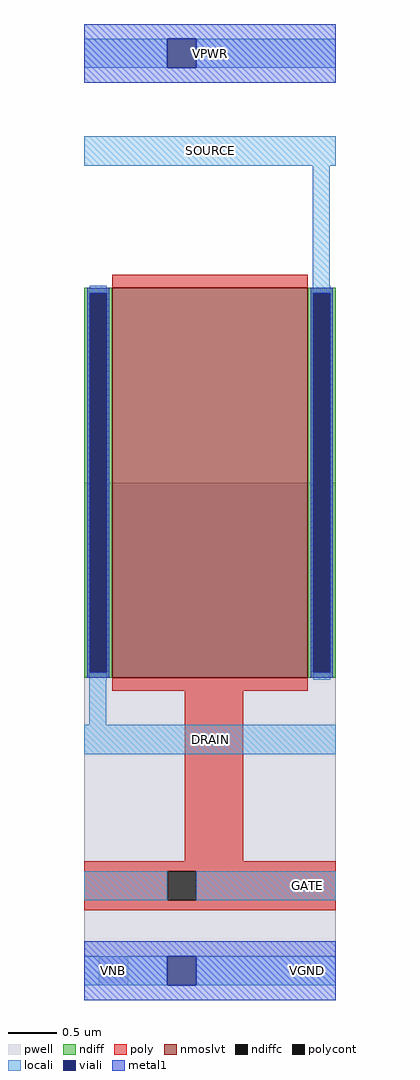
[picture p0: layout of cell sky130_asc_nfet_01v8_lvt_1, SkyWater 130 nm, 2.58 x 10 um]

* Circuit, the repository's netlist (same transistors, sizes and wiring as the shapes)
* NGSPICE file created from sky130_asc_nfet_01v8_lvt_1.ext - technology: sky130A

.subckt sky130_asc_nfet_01v8_lvt_1 GATE SOURCE DRAIN VPWR VGND
X0 SOURCE GATE DRAIN VGND sky130_fd_pr__nfet_01v8_lvt ad=1.16e+12p pd=8.58e+06u as=1.16e+12p ps=8.58e+06u w=4e+06u l=2e+06u
.ends

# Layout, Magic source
magic
tech sky130A
magscale 1 2
<< pwell >>
rect 0 30 516 1000
rect 30 -30 90 30
<< nmoslvt >>
rect 58 600 458 1400
<< ndiff >>
rect 0 1388 58 1400
rect 0 612 12 1388
rect 46 612 58 1388
rect 0 600 58 612
rect 458 1388 516 1400
rect 458 612 470 1388
rect 504 612 516 1388
rect 458 600 516 612
<< ndiffc >>
rect 12 612 46 1388
rect 470 612 504 1388
<< poly >>
rect 58 1400 458 1426
rect 58 574 458 600
rect 206 224 326 574
rect 0 204 516 224
rect 0 144 170 204
rect 230 144 516 204
rect 0 124 516 144
<< polycont >>
rect 170 144 230 204
<< locali >>
rect 0 1850 170 1910
rect 230 1850 516 1910
rect 0 1650 516 1710
rect 469 1404 503 1650
rect 12 1388 46 1404
rect 11 612 12 654
rect 469 1388 504 1404
rect 469 1346 470 1388
rect 11 596 46 612
rect 470 596 504 612
rect 11 504 45 596
rect 0 444 516 504
rect 0 144 170 204
rect 230 144 516 204
rect 0 -30 170 30
rect 230 -30 516 30
<< viali >>
rect 170 1850 230 1910
rect 12 612 46 1388
rect 470 612 504 1388
rect 170 -30 230 30
<< metal1 >>
rect 0 1910 516 1940
rect 0 1850 170 1910
rect 230 1850 516 1910
rect 0 1820 516 1850
rect 6 1388 52 1400
rect 6 612 12 1388
rect 46 612 52 1388
rect 6 600 52 612
rect 464 1388 510 1400
rect 464 612 470 1388
rect 504 612 510 1388
rect 464 600 510 612
rect 0 30 516 60
rect 0 -30 170 30
rect 230 -30 516 30
rect 0 -60 516 -30
<< labels >>
flabel metal1 0 1820 516 1940 1 FreeSans 800 0 0 0 VPWR
port 5 n power bidirectional
flabel pwell 30 -30 90 30 1 FreeSans 800 0 0 0 VNB
port 1 n power bidirectional
flabel metal1 400 -60 516 60 1 FreeSans 800 0 0 0 VGND
port 6 n ground bidirectional
flabel locali 0 1650 516 1710 1 FreeSans 800 0 0 0 SOURCE
port 3 n signal bidirectional
flabel locali 0 444 516 504 1 FreeSans 800 0 0 0 DRAIN
port 4 n signal bidirectional
flabel poly 400 124 516 224 1 FreeSans 800 0 0 0 GATE
port 2 n signal bidirectional
<< properties >>
string FIXED_BBOX 0 0 516 1880
string LEFclass CORE
string LEFsite unitasc
<< end >>
